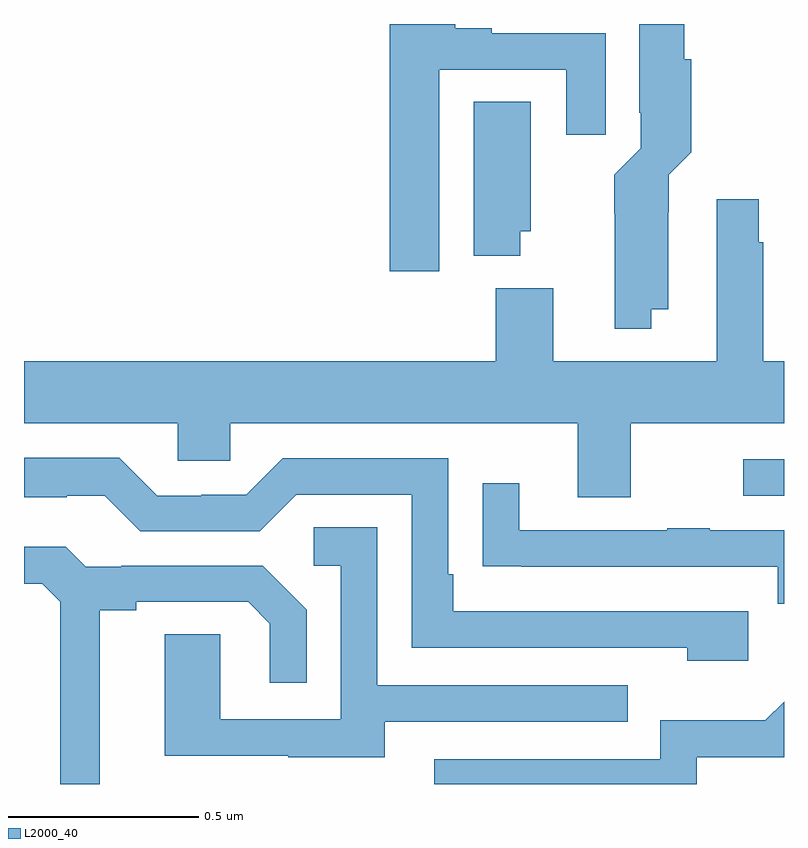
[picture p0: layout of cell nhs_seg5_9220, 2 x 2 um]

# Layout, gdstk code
import gdstk
lib = gdstk.Library(unit=1e-6, precision=1e-09)
def R(c, l, rs):  # rectangles x0, y0, x1, y1
    for r in rs: c.add(gdstk.rectangle(r[:2], r[2:], *l))
def P(c, l, *ps):  # polygons
    for p in ps: c.add(gdstk.Polygon(p, *l))
L2000_40 = (2000, 40)

nhs_seg5_9220 = lib.new_cell('nhs_seg5_9220')
R(nhs_seg5_9220, L2000_40, [(232.893,868.557,233,868.653)])
P(nhs_seg5_9220, L2000_40, [(232.093,869.679),(232.427,869.679),(232.427,869.508),(232.531,869.508),(232.531,869.775),(232.231,869.775),(232.231,869.788),(232.135,869.788),(232.135,869.799),(231.962,869.799),(231.962,869.148),(232.093,869.148)],
  [(232.651,869.048),(232.696,869.048),(232.696,869.303),(232.697,869.303),(232.697,869.402),(232.756,869.461),(232.756,869.706),(232.738,869.706),(232.738,869.799),(232.619,869.799),(232.619,869.566),(232.623,869.566),(232.623,869.472),(232.553,869.402),(232.553,869.3),(232.554,869.3),(232.554,868.997),(232.651,868.997)],
  [(232.306,869.253),(232.333,869.253),(232.333,869.594),(232.184,869.594),(232.184,869.189),(232.306,869.189)],
  [(232.597,868.748),(233,868.748),(233,868.912),(232.946,868.912),(232.946,869.225),(232.933,869.225),(232.933,869.338),(232.823,869.338),(232.823,868.912),(232.393,868.912),(232.393,869.104),(232.241,869.104),(232.241,868.912),(231,868.912),(231,868.748),(231.405,868.748),(231.405,868.65),(231.543,868.65),(231.543,868.748),(232.457,868.748),(232.457,868.554),(232.597,868.554)],
  [(232.906,868.254),(232.129,868.254),(232.129,868.351),(232.116,868.351),(232.116,868.656),(231.681,868.656),(231.585,868.56),(231.467,868.56),(231.467,868.557),(231.351,868.557),(231.251,868.657),(231,868.657),(231,868.553),(231.113,868.553),(231.113,868.557),(231.213,868.557),(231.306,868.464),(231.621,868.464),(231.717,868.56),(232.02,868.56),(232.02,868.158),(232.745,868.158),(232.745,868.124),(232.906,868.124)],
  [(233,868.467),(232.805,868.467),(232.805,868.472),(232.693,868.472),(232.693,868.467),(232.303,868.467),(232.303,868.591),(232.207,868.591),(232.207,868.372),(232.309,868.372),(232.309,868.371),(232.984,868.371),(232.984,868.274),(233,868.274)],
  [(231.949,867.963),(232.589,867.963),(232.589,868.059),(231.93,868.059),(231.93,868.475),(231.762,868.475),(231.762,868.374),(231.834,868.374),(231.834,867.969),(231.516,867.969),(231.516,868.193),(231.371,868.193),(231.371,867.873),(231.695,867.873),(231.695,867.869),(231.949,867.869)],
  [(231.199,868.256),(231.295,868.256),(231.295,868.278),(231.59,868.278),(231.647,868.221),(231.647,868.065),(231.744,868.065),(231.744,868.258),(231.628,868.374),(231.256,868.374),(231.256,868.371),(231.162,868.371),(231.11,868.423),(231,868.423),(231,868.326),(231.048,868.326),(231.095,868.279),(231.095,867.799),(231.199,867.799)],
  [(232.77,867.87),(233,867.87),(233,868.016),(232.951,867.967),(232.674,867.967),(232.674,867.864),(232.079,867.864),(232.079,867.799),(232.77,867.799)])

lib.write_gds('nhs_seg5_9220.gds')
